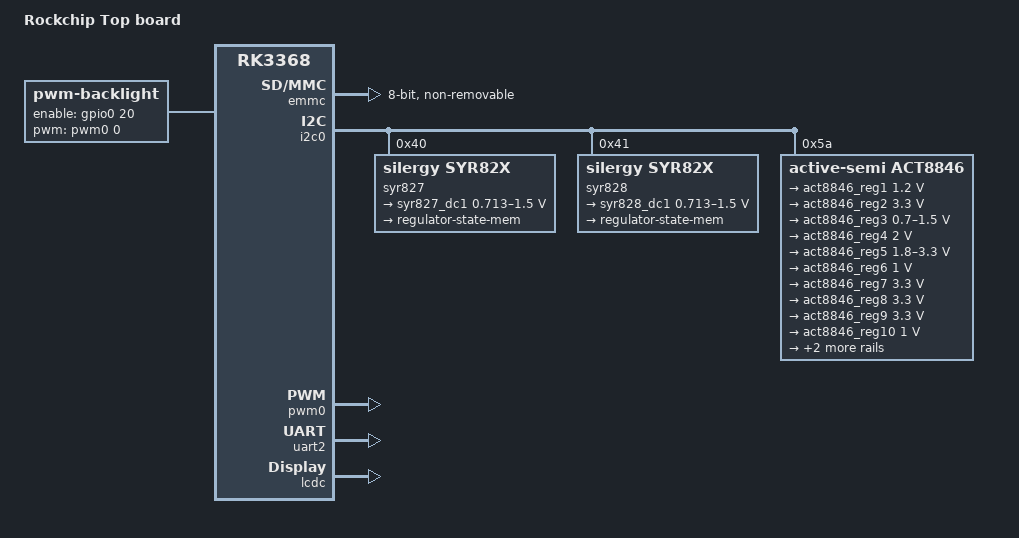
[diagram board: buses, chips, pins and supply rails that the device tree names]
/*
 * Copyright (c) 2015 Fuzhou Rockchip Electronics Co., Ltd
 *
 * This file is dual-licensed: you can use it either under the terms
 * of the GPL or the X11 license, at your option. Note that this dual
 * licensing only applies to this file, and not this project as a
 * whole.
 *
 *  a) This file is free software; you can redistribute it and/or
 *     modify it under the terms of the GNU General Public License as
 *     published by the Free Software Foundation; either version 2 of the
 *     License, or (at your option) any later version.
 *
 *     This file is distributed in the hope that it will be useful,
 *     but WITHOUT ANY WARRANTY; without even the implied warranty of
 *     MERCHANTABILITY or FITNESS FOR A PARTICULAR PURPOSE.  See the
 *     GNU General Public License for more details.
 *
 * Or, alternatively,
 *
 *  b) Permission is hereby granted, free of charge, to any person
 *     obtaining a copy of this software and associated documentation
 *     files (the "Software"), to deal in the Software without
 *     restriction, including without limitation the rights to use,
 *     copy, modify, merge, publish, distribute, sublicense, and/or
 *     sell copies of the Software, and to permit persons to whom the
 *     Software is furnished to do so, subject to the following
 *     conditions:
 *
 *     The above copyright notice and this permission notice shall be
 *     included in all copies or substantial portions of the Software.
 *
 *     THE SOFTWARE IS PROVIDED "AS IS", WITHOUT WARRANTY OF ANY KIND,
 *     EXPRESS OR IMPLIED, INCLUDING BUT NOT LIMITED TO THE WARRANTIES
 *     OF MERCHANTABILITY, FITNESS FOR A PARTICULAR PURPOSE AND
 *     NONINFRINGEMENT. IN NO EVENT SHALL THE AUTHORS OR COPYRIGHT
 *     HOLDERS BE LIABLE FOR ANY CLAIM, DAMAGES OR OTHER LIABILITY,
 *     WHETHER IN AN ACTION OF CONTRACT, TORT OR OTHERWISE, ARISING
 *     FROM, OUT OF OR IN CONNECTION WITH THE SOFTWARE OR THE USE OR
 *     OTHER DEALINGS IN THE SOFTWARE.
 */

/dts-v1/;
#include <dt-bindings/pwm/pwm.h>
#include "rk3368.dtsi"

/ {
	model = "Rockchip Top board";
	compatible = "rockchip,tb", "rockchip,rk3368";

	chosen {
		bootargs = "console=uart,mmio32,0xff690000";
	};

	ion {
		compatible = "rockchip,ion";
		#address-cells = <1>;
		#size-cells = <0>;

		system-heap {
			rockchip,ion_heap = <0>;
		};
	};

	backlight: backlight {
		compatible = "pwm-backlight";
		pwms = <&pwm0 0 25000 PWM_POLARITY_INVERTED>;
		brightness-levels = <
			  0   1   2   3   4   5   6   7
			  8   9  10  11  12  13  14  15
			 16  17  18  19  20  21  22  23
			 24  25  26  27  28  29  30  31
			 32  33  34  35  36  37  38  39
			 40  41  42  43  44  45  46  47
			 48  49  50  51  52  53  54  55
			 56  57  58  59  60  61  62  63
			 64  65  66  67  68  69  70  71
			 72  73  74  75  76  77  78  79
			 80  81  82  83  84  85  86  87
			 88  89  90  91  92  93  94  95
			 96  97  98  99 100 101 102 103
			104 105 106 107 108 109 110 111
			112 113 114 115 116 117 118 119
			120 121 122 123 124 125 126 127
			128 129 130 131 132 133 134 135
			136 137 138 139 140 141 142 143
			144 145 146 147 148 149 150 151
			152 153 154 155 156 157 158 159
			160 161 162 163 164 165 166 167
			168 169 170 171 172 173 174 175
			176 177 178 179 180 181 182 183
			184 185 186 187 188 189 190 191
			192 193 194 195 196 197 198 199
			200 201 202 203 204 205 206 207
			208 209 210 211 212 213 214 215
			216 217 218 219 220 221 222 223
			224 225 226 227 228 229 230 231
			232 233 234 235 236 237 238 239
			240 241 242 243 244 245 246 247
			248 249 250 251 252 253 254 255>;
		default-brightness-level = <200>;
		enable-gpios = <&gpio0 20 GPIO_ACTIVE_HIGH>;
	};
};

&emmc {
	bus-width = <8>;
	cap-mmc-highspeed;
	supports-emmc;
	disable-wp;
	non-removable;
	num-slots = <1>;
	pinctrl-names = "default";
	pinctrl-0 = <&emmc_clk &emmc_cmd &emmc_bus8>;
	status = "okay";
};

&i2c0 {
	status = "okay";
	syr827: syr827@40 {
		compatible = "silergy,syr82x";
		reg = <0x40>;
		status = "okay";
		regulators {
			#address-cells = <1>;
			#size-cells = <0>;
			syr827_dc1: regulator@0 {
				reg = <0>;
				regulator-compatible = "syr82x_dcdc1";
				regulator-name = "vdd_arm";
				regulator-min-microvolt = <712500>;
				regulator-max-microvolt = <1500000>;
				regulator-always-on;
				regulator-boot-on;
				regulator-initial-state = <3>;
				regulator-state-mem {
					regulator-mode = <0x2>;
					regulator-off-in-suspend;
					regulator-suspend-microvolt = <900000>;
				};
			};
		};
	};

	syr828: syr828@41 {
		compatible = "silergy,syr82x";
		reg = <0x41>;
		status = "okay";
		regulators {
			#address-cells = <1>;
			#size-cells = <0>;
			syr828_dc1: regulator@0 {
				reg = <0>;
				regulator-compatible = "syr82x_dcdc1";
				regulator-name = "vdd_gpu";
				regulator-min-microvolt = <712500>;
				regulator-max-microvolt = <1500000>;
				regulator-always-on;
				regulator-boot-on;
				regulator-initial-state = <3>;
				regulator-state-mem {
					regulator-mode = <0x2>;
					regulator-on-in-suspend;
					regulator-suspend-microvolt = <900000>;
				};
			};
		};
	};

	act8846: act8846@5a {
		compatible = "active-semi,act8846";
		reg = <0x5a>;
		status = "okay";
		system-power-controller;

		regulators {
			act8846_reg1: REG1 {
				regulator-name = "VCC_DDR";
				regulator-min-microvolt = <1200000>;
				regulator-max-microvolt = <1200000>;
				regulator-always-on;
			};

			act8846_reg2: REG2 {
				regulator-name = "VCC_IO";
				regulator-min-microvolt = <3300000>;
				regulator-max-microvolt = <3300000>;
				regulator-always-on;
			};

			act8846_reg3: REG3 {
				regulator-name = "VDD_LOG";
				regulator-min-microvolt = <700000>;
				regulator-max-microvolt = <1500000>;
				regulator-always-on;
			};

			act8846_reg4: REG4 {
				regulator-name = "VCC_20";
				regulator-min-microvolt = <2000000>;
				regulator-max-microvolt = <2000000>;
				regulator-always-on;
			};

			act8846_reg5: REG5 {
				regulator-name = "VCCIO_SD";
				regulator-min-microvolt = <1800000>;
				regulator-max-microvolt = <3300000>;
				regulator-always-on;
			};

			act8846_reg6: REG6 {
				regulator-name = "VDD10_LCD";
				regulator-min-microvolt = <1000000>;
				regulator-max-microvolt = <1000000>;
				regulator-always-on;
			};

			act8846_reg7: REG7 {
				regulator-name = "VCCA_CODEC";
				regulator-min-microvolt = <3300000>;
				regulator-max-microvolt = <3300000>;
				regulator-always-on;
			};

			act8846_reg8: REG8 {
				regulator-name = "VCCA_TP";
				regulator-min-microvolt = <3300000>;
				regulator-max-microvolt = <3300000>;
				regulator-always-on;
			};

			act8846_reg9: REG9 {
				regulator-name = "VCCIO_PMU";
				regulator-min-microvolt = <3300000>;
				regulator-max-microvolt = <3300000>;
				regulator-always-on;
			};

			act8846_reg10: REG10 {
				regulator-name = "VDD_10";
				regulator-min-microvolt = <1000000>;
				regulator-max-microvolt = <1000000>;
				regulator-always-on;
			};

			act8846_reg11: REG11 {
				regulator-name = "VCC_18";
				regulator-min-microvolt = <1800000>;
				regulator-max-microvolt = <1800000>;
				regulator-always-on;
			};

			act8846_reg12: REG12 {
				regulator-name = "VCC18_LCD";
				regulator-min-microvolt = <1800000>;
				regulator-max-microvolt = <1800000>;
				regulator-always-on;
			};
		};
	};
};

&pwm0 {
	status = "okay";
};

&uart2 {
	status = "okay";
};

&fb {
	rockchip,disp-mode = <NO_DUAL>;
	rockchip,uboot-logo-on = <0>;
};

&rk_screen {
	/*#include <dt-bindings/display/screen-timing/lcd-b101ew05.dtsi>*/
	#include <dt-bindings/display/screen-timing/lcd-F402.dtsi>
};

&lcdc {
	status = "okay";
	backlight = <&backlight>;
	rockchip,mirror = <NO_MIRROR>;
	rockchip,cabc_mode = <0>;
	rockchip,fb-win-map = <FB_DEFAULT_ORDER>;
	power_ctr: power_ctr {
		rockchip,debug = <0>;
		lcd_en:lcd_en {
			rockchip,power_type = <GPIO>;
			gpios = <&gpio0 22 GPIO_ACTIVE_HIGH>;/*GPIO_C6 = 22*/
			rockchip,delay = <10>;
		};

		lcd_cs:lcd_cs {
			rockchip,power_type = <GPIO>;
			gpios = <&gpio0 21 GPIO_ACTIVE_HIGH>;/*GPIO_C5 = 21*/
			rockchip,delay = <10>;
		};

		/*lcd_rst:lcd_rst {
			rockchip,power_type = <GPIO>;
			gpios = <&gpio3 GPIO_D6 GPIO_ACTIVE_HIGH>;
			rockchip,delay = <5>;
		};*/
	};
};

&lvds {
	status = "disabled";
	pinctrl-names = "lcdc", "sleep";
	pinctrl-0 = <&lcdc_lcdc>;
	pinctrl-1 = <&lcdc_gpio>;
};
